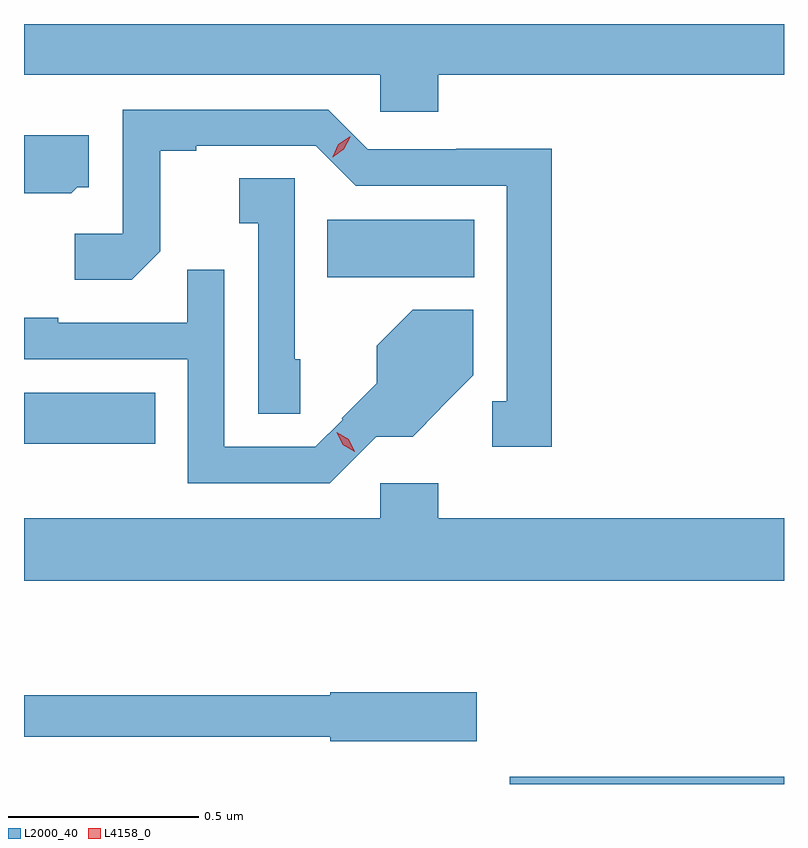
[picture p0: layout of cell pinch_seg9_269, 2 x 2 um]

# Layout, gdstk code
import gdstk
lib = gdstk.Library(unit=1e-6, precision=1e-09)
def R(c, l, rs):  # rectangles x0, y0, x1, y1
    for r in rs: c.add(gdstk.rectangle(r[:2], r[2:], *l))
def P(c, l, *ps):  # polygons
    for p in ps: c.add(gdstk.Polygon(p, *l))
L2000_40 = (2000, 40)
L4158_0 = (4158, 0)

pinch_seg9_269 = lib.new_cell('pinch_seg9_269')
R(pinch_seg9_269, L2000_40, [(505.258,1227.853,505.98,1227.872), (503.98,1228.748,504.326,1228.882), (504.778,1229.186,505.165,1229.338)])
P(pinch_seg9_269, L2000_40, [(505.07,1229.72),(505.98,1229.72),(505.98,1229.853),(503.98,1229.853),(503.98,1229.72),(504.918,1229.72),(504.918,1229.622),(505.07,1229.622)],
  [(505.369,1229.525),(505.118,1229.525),(505.118,1229.523),(504.885,1229.523),(504.78,1229.628),(504.24,1229.628),(504.24,1229.301),(504.114,1229.301),(504.114,1229.18),(504.264,1229.18),(504.339,1229.255),(504.339,1229.52),(504.433,1229.52),(504.433,1229.532),(504.748,1229.532),(504.853,1229.427),(505.25,1229.427),(505.25,1228.86),(505.212,1228.86),(505.212,1228.74),(505.369,1228.74)],
  [(504.12,1229.424),(504.151,1229.424),(504.151,1229.56),(503.98,1229.56),(503.98,1229.408),(504.104,1229.408)],
  [(504.707,1228.971),(504.693,1228.971),(504.693,1229.447),(504.546,1229.447),(504.546,1229.329),(504.597,1229.329),(504.597,1228.827),(504.707,1228.827)],
  [(504.907,1228.767),(505.003,1228.767),(505.076,1228.84),(505.074,1228.841),(505.162,1228.929),(505.162,1229.101),(505.003,1229.101),(504.908,1229.006),(504.908,1228.907),(504.816,1228.815),(504.819,1228.812),(504.747,1228.74),(504.507,1228.74),(504.507,1229.206),(504.409,1229.206),(504.409,1229.067),(504.07,1229.067),(504.07,1229.08),(503.98,1229.08),(503.98,1228.971),(504.411,1228.971),(504.411,1228.644),(504.784,1228.644)],
  [(505.98,1228.552),(505.07,1228.552),(505.07,1228.645),(504.918,1228.645),(504.918,1228.552),(503.98,1228.552),(503.98,1228.388),(505.98,1228.388)],
  [(505.171,1228.095),(504.786,1228.095),(504.786,1228.087),(503.98,1228.087),(503.98,1227.978),(504.786,1227.978),(504.786,1227.965),(505.171,1227.965)])
P(pinch_seg9_269, L4158_0, [(504.85,1228.727),(504.819,1228.746),(504.803,1228.779),(504.803,1228.779),(504.803,1228.779),(504.834,1228.76),(504.851,1228.728),(504.851,1228.727)],
  [(504.792,1229.503),(504.792,1229.504),(504.807,1229.536),(504.837,1229.556),(504.838,1229.556),(504.838,1229.555),(504.822,1229.523),(504.792,1229.503)])

lib.write_gds('pinch_seg9_269.gds')
